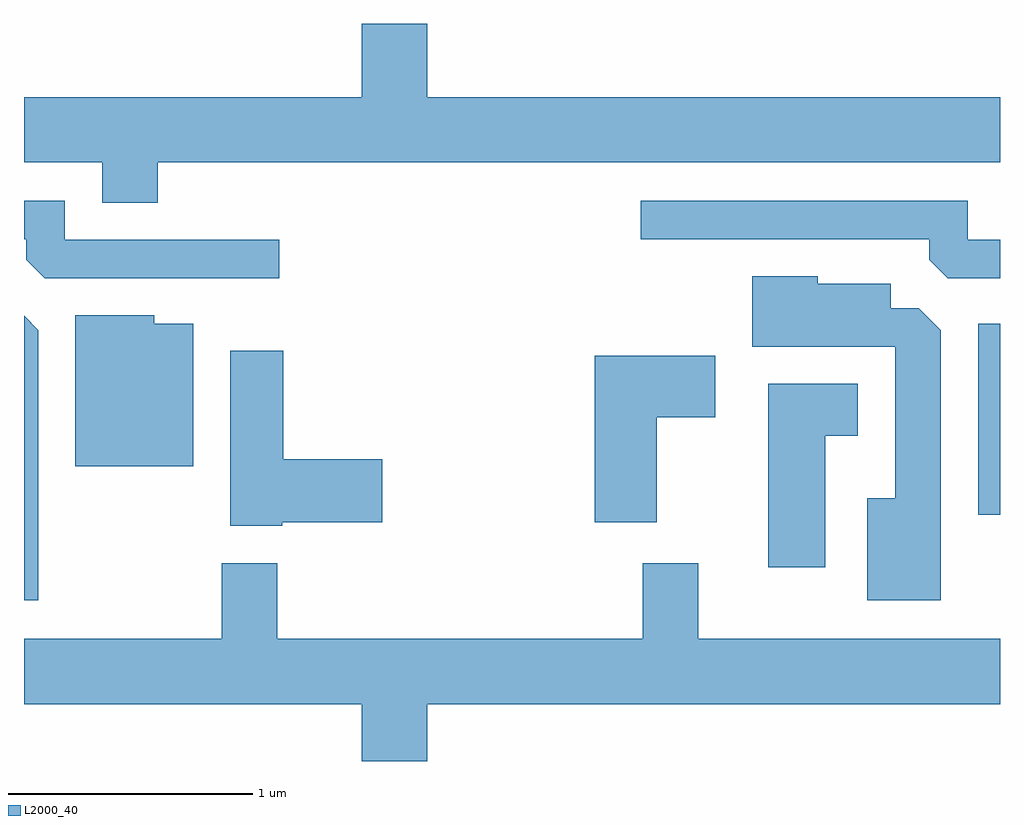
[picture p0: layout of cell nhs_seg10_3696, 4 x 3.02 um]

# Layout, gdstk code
import gdstk
lib = gdstk.Library(unit=1e-6, precision=1e-09)
def R(c, l, rs):  # rectangles x0, y0, x1, y1
    for r in rs: c.add(gdstk.rectangle(r[:2], r[2:], *l))
def P(c, l, *ps):  # polygons
    for p in ps: c.add(gdstk.Polygon(p, *l))
L2000_40 = (2000, 40)

nhs_seg10_3696 = lib.new_cell('nhs_seg10_3696')
R(nhs_seg10_3696, L2000_40, [(297.521,2163.531,297.611,2164.314)])
P(nhs_seg10_3696, L2000_40, [(294.159,2164.976),(297.611,2164.976),(297.611,2165.244),(295.264,2165.244),(295.264,2165.544),(294.996,2165.544),(294.996,2165.244),(293.611,2165.244),(293.611,2164.976),(293.931,2164.976),(293.931,2164.811),(294.159,2164.811)],
  [(294.658,2164.659),(293.779,2164.659),(293.779,2164.819),(293.611,2164.819),(293.611,2164.661),(293.621,2164.661),(293.621,2164.577),(293.697,2164.501),(294.658,2164.501)],
  [(297.611,2164.659),(297.479,2164.659),(297.479,2164.819),(296.138,2164.819),(296.138,2164.661),(297.321,2164.661),(297.321,2164.577),(297.397,2164.501),(297.611,2164.501)],
  [(297.369,2164.289),(297.279,2164.379),(297.164,2164.379),(297.164,2164.479),(296.864,2164.479),(296.864,2164.509),(296.596,2164.509),(296.596,2164.221),(297.181,2164.221),(297.181,2163.599),(297.066,2163.599),(297.066,2163.181),(297.369,2163.181)],
  [(294.304,2164.314),(294.144,2164.314),(294.144,2164.349),(293.821,2164.349),(293.821,2163.731),(294.304,2163.731)],
  [(293.669,2164.289),(293.611,2164.347),(293.611,2163.181),(293.669,2163.181)],
  [(294.67,2163.501),(295.079,2163.501),(295.079,2163.759),(294.674,2163.759),(294.674,2164.204),(294.456,2164.204),(294.456,2163.486),(294.67,2163.486)],
  [(296.204,2163.931),(296.444,2163.931),(296.444,2164.184),(295.951,2164.184),(295.951,2163.501),(296.204,2163.501)],
  [(296.894,2163.856),(297.029,2163.856),(297.029,2164.069),(296.661,2164.069),(296.661,2163.316),(296.894,2163.316)],
  [(295.264,2162.756),(297.611,2162.756),(297.611,2163.024),(296.374,2163.024),(296.374,2163.334),(296.146,2163.334),(296.146,2163.024),(294.649,2163.024),(294.649,2163.334),(294.421,2163.334),(294.421,2163.024),(293.611,2163.024),(293.611,2162.756),(294.996,2162.756),(294.996,2162.522),(295.264,2162.522)])

lib.write_gds('nhs_seg10_3696.gds')
